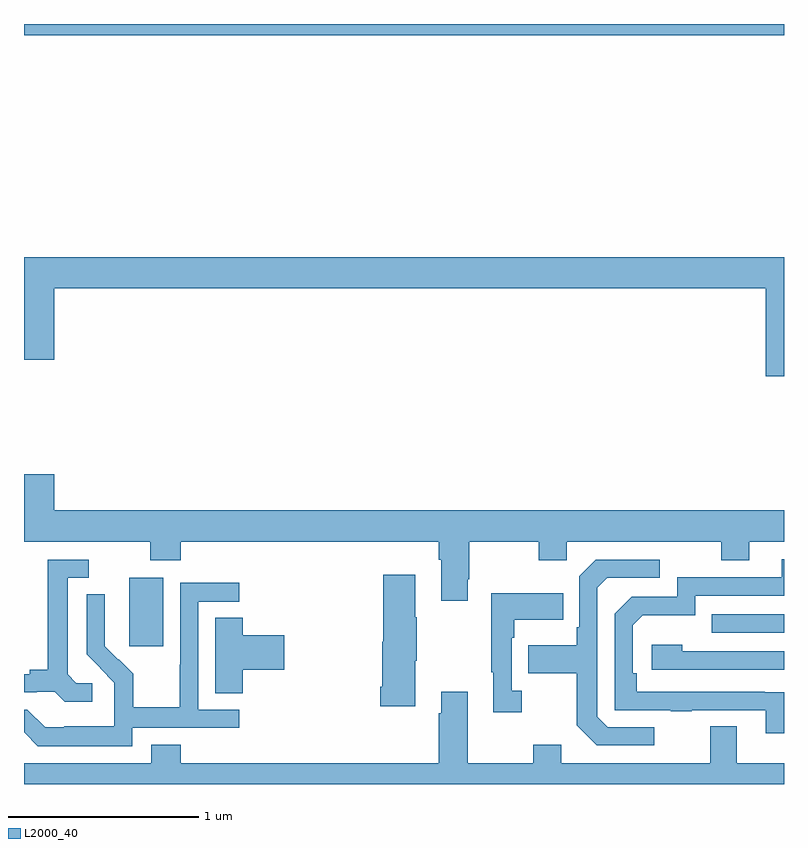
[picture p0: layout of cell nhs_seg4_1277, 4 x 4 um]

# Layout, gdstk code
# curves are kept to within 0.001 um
import gdstk
lib = gdstk.Library(unit=1e-6, precision=1e-09)
def R(c, l, rs):  # rectangles x0, y0, x1, y1
    for r in rs: c.add(gdstk.rectangle(r[:2], r[2:], *l))
def P(c, l, *ps):  # polygons
    for p in ps: c.add(gdstk.Polygon(p, *l))
L2000_40 = (2000, 40)

nhs_seg4_1277 = lib.new_cell('nhs_seg4_1277')
R(nhs_seg4_1277, L2000_40, [(177.554,773.625,177.733,773.986), (180.619,773.697,181,773.793), (177,776.84,181,776.9)])
P(nhs_seg4_1277, L2000_40, [(181,775.672),(177,775.672),(177,775.134),(177.16,775.134),(177.16,775.508),(180.905,775.508),(180.905,775.047),(181,775.047)],
  [(179.335,773.977),(179.343,773.977),(179.343,774.176),(179.71,774.176),(179.71,774.077),(179.856,774.077),(179.856,774.176),(180.67,774.176),(180.67,774.077),(180.817,774.077),(180.817,774.176),(181,774.176),(181,774.34),(177.16,774.34),(177.16,774.529),(177,774.529),(177,774.176),(177.664,774.176),(177.664,774.077),(177.824,774.077),(177.824,774.176),(179.183,774.176),(179.183,774.08),(179.195,774.08),(179.195,773.865),(179.335,773.865)],
  [(181,773.384),(180.224,773.385),(180.224,773.482),(180.204,773.482),(180.204,773.736),(180.257,773.789),(180.534,773.789),(180.534,773.892),(181,773.892),(181,774.084),(180.989,774.084),(180.989,773.988),(180.438,773.988),(180.438,773.886),(180.198,773.886),(180.108,773.796),(180.108,773.289),(180.403,773.289),(180.403,773.284),(180.515,773.284),(180.515,773.289),(180.905,773.289),(180.905,773.166),(181,773.166)],
  [(177.358,773.43),(177.276,773.43),(177.229,773.477),(177.229,773.985),(177.34,773.985),(177.34,774.081),(177.125,774.081),(177.125,773.501),(177.029,773.501),(177.029,773.478),(177,773.478),(177,773.382),(177.068,773.382),(177.068,773.385),(177.162,773.385),(177.214,773.333),(177.358,773.333)],
  [(180.316,773.199),(180.072,773.199),(180.018,773.253),(180.018,773.934),(180.069,773.985),(180.346,773.985),(180.346,774.081),(180.009,774.081),(179.922,773.994),(179.922,773.725),(179.91,773.725),(179.91,773.629),(179.653,773.629),(179.653,773.482),(179.91,773.482),(179.91,773.209),(180.015,773.103),(180.316,773.103)],
  [(179.059,773.549),(179.067,773.549),(179.067,773.777),(179.059,773.777),(179.059,774.001),(178.892,774.001),(178.892,773.649),(178.886,773.649),(178.886,773.413),(178.874,773.413),(178.874,773.309),(179.059,773.309)],
  [(177.57,773.196),(178.132,773.196),(178.132,773.292),(177.918,773.292),(177.918,773.859),(178.132,773.859),(178.132,773.958),(177.822,773.958),(177.822,773.528),(177.82,773.528),(177.82,773.305),(177.575,773.305),(177.575,773.479),(177.498,773.556),(177.495,773.553),(177.425,773.624),(177.426,773.9),(177.33,773.9),(177.33,773.582),(177.476,773.434),(177.476,773.337),(177.474,773.337),(177.474,773.203),(177.211,773.203),(177.211,773.199),(177.111,773.199),(177.018,773.292),(177,773.292),(177,773.172),(177.073,773.099),(177.57,773.099)],
  [(179.62,773.39),(179.568,773.39),(179.568,773.669),(179.581,773.669),(179.581,773.765),(179.837,773.765),(179.837,773.905),(179.46,773.905),(179.46,773.489),(179.471,773.489),(179.471,773.277),(179.62,773.277)],
  [(178.151,773.501),(178.369,773.501),(178.369,773.684),(178.151,773.684),(178.151,773.774),(178.007,773.774),(178.007,773.377),(178.151,773.377)],
  [(181,773.598),(180.464,773.598),(180.464,773.632),(180.303,773.632),(180.303,773.502),(181,773.502)],
  [(181,773.008),(180.751,773.008),(180.751,773.203),(180.611,773.203),(180.611,773.008),(179.827,773.008),(179.827,773.107),(179.68,773.107),(179.68,773.008),(179.335,773.008),(179.335,773.386),(179.195,773.386),(179.195,773.273),(179.183,773.273),(179.183,773.008),(177.824,773.008),(177.824,773.107),(177.671,773.107),(177.671,773.008),(177,773.008),(177,772.9),(181,772.9)])

lib.write_gds('nhs_seg4_1277.gds')
